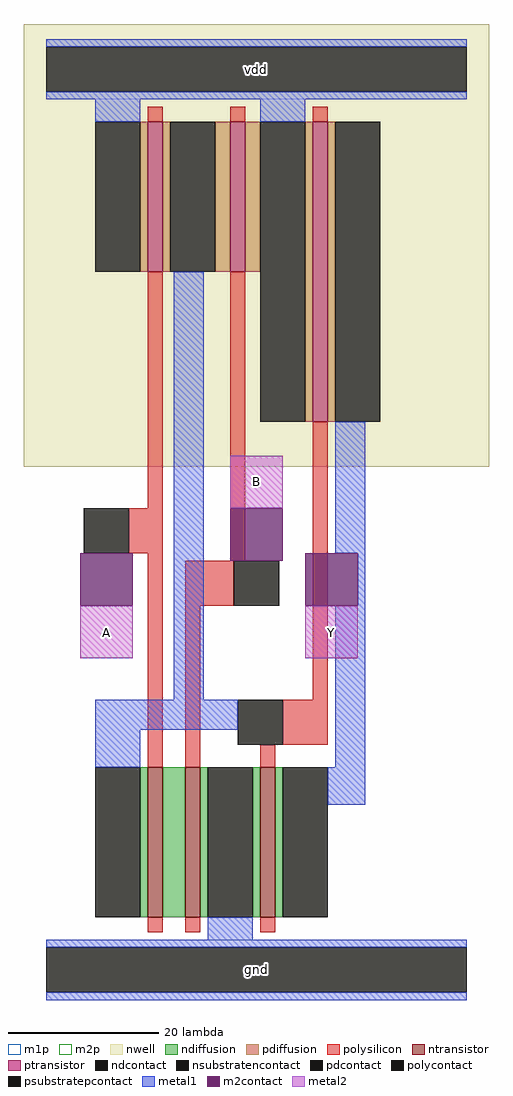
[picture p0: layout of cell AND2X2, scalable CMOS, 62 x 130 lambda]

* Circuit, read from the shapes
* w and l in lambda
.subckt AND2X2 A B Y vdd gnd
M1 n1 A n2 gnd nfet w=20 l=2
M2 gnd B n1 gnd nfet w=20 l=2
M3 Y n2 gnd gnd nfet w=20 l=2
M4 n2 A vdd vdd pfet w=20 l=2
M5 vdd B n2 vdd pfet w=20 l=2
M6 Y n2 vdd vdd pfet w=40 l=2
.ends

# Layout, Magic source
magic
tech scmos
magscale 1 2
<< nwell >>
rect -12 134 112 252
<< ntransistor >>
rect 21 14 25 54
rect 31 14 35 54
rect 51 14 55 54
<< ptransistor >>
rect 21 186 25 226
rect 43 186 47 226
rect 65 146 69 226
<< ndiffusion >>
rect 19 14 21 54
rect 25 14 31 54
rect 35 14 37 54
rect 49 14 51 54
rect 55 14 57 54
<< pdiffusion >>
rect 19 186 21 226
rect 25 186 27 226
rect 39 186 43 226
rect 47 186 51 226
rect 63 146 65 226
rect 69 146 71 226
<< ndcontact >>
rect 7 14 19 54
rect 37 14 49 54
rect 57 14 69 54
<< pdcontact >>
rect 7 186 19 226
rect 27 186 39 226
rect 51 146 63 226
rect 71 146 83 226
<< psubstratepcontact >>
rect -6 -6 106 6
<< nsubstratencontact >>
rect -6 234 106 246
<< polysilicon >>
rect 21 226 25 230
rect 43 226 47 230
rect 65 226 69 230
rect 21 123 25 186
rect 16 111 25 123
rect 21 54 25 111
rect 43 109 47 186
rect 31 97 44 109
rect 31 54 35 97
rect 65 72 69 146
rect 57 60 69 72
rect 51 54 55 60
rect 21 10 25 14
rect 31 10 35 14
rect 51 10 55 14
<< polycontact >>
rect 4 111 16 123
rect 44 97 56 109
rect 45 60 57 72
<< metal1 >>
rect -6 246 106 248
rect -6 232 106 234
rect 7 226 19 232
rect 51 226 63 232
rect 28 72 36 186
rect 71 111 79 146
rect 77 97 79 111
rect 7 64 45 72
rect 7 54 19 64
rect 71 54 79 97
rect 69 44 79 54
rect 37 8 49 14
rect -6 6 106 8
rect -6 -8 106 -6
<< m2contact >>
rect 3 97 17 111
rect 43 109 57 123
rect 63 97 77 111
<< metal2 >>
rect 43 123 57 137
rect 3 83 17 97
rect 63 83 77 97
<< m1p >>
rect -6 232 106 248
rect -6 -8 106 8
<< m2p >>
rect 43 123 57 137
rect 3 83 17 97
rect 63 83 77 97
<< labels >>
rlabel metal1 -6 -8 106 8 0 gnd
port 4 nsew ground bidirectional abutment
rlabel metal1 -6 232 106 248 0 vdd
port 3 nsew power bidirectional abutment
rlabel metal2 3 83 17 97 0 A
port 0 nsew signal input
rlabel metal2 63 83 77 97 0 Y
port 2 nsew signal output
rlabel metal2 43 123 57 137 0 B
port 1 nsew signal input
<< properties >>
string FIXED_BBOX 0 0 100 240
string LEFclass CORE
string LEFsite core
string LEFsymmetry X Y
<< end >>
